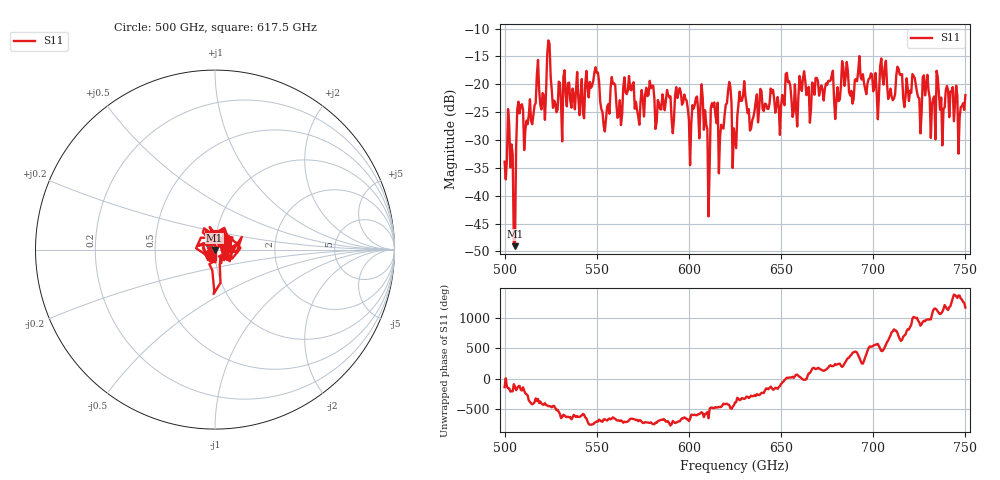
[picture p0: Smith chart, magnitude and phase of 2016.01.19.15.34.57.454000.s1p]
!Created with skrf (http://scikit-rf.org).
# GHz S RI R 50.0
!freq ReS11 ImS11
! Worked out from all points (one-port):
!   401 points, 500 GHz to 750 GHz, reference 50 ohm
!   lowest |S11| = -49.1 dB at 505.6 GHz (marker M1), VSWR 1.01, Z = 49.8 - j0.261 ohm
!   |S11| at or under -10 dB: start of sweep to end of sweep
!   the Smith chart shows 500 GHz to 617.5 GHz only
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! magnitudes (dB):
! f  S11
! 500 GHz  -33.9
! 503.1 GHz  -34.9
! 504.4 GHz  -32.5
! 505.6 GHz  -49.1
! 508.1 GHz  -25.2
! 520.6 GHz  -21.6
! 523.8 GHz  -12.1
! 527.5 GHz  -23.4
! 531.2 GHz  -30.3
! 550 GHz  -17.9
! 553.8 GHz  -27.5
! 558.8 GHz  -19.9
! 562.5 GHz  -22.9
! 566.2 GHz  -21.8
! 593.8 GHz  -22.5
! 600.6 GHz  -34.5
! 607.5 GHz  -22.5
! 610 GHz  -28.1
! 613.1 GHz  -24.1
! 617.5 GHz  -27.3
! 621.9 GHz  -19.6
! 625 GHz  -29.6
! 628.8 GHz  -23.0
! 634.4 GHz  -26.5
! 656.2 GHz  -25.9
! 687.5 GHz  -22.0
! 718.8 GHz  -20.9
! 750 GHz  -22.0
